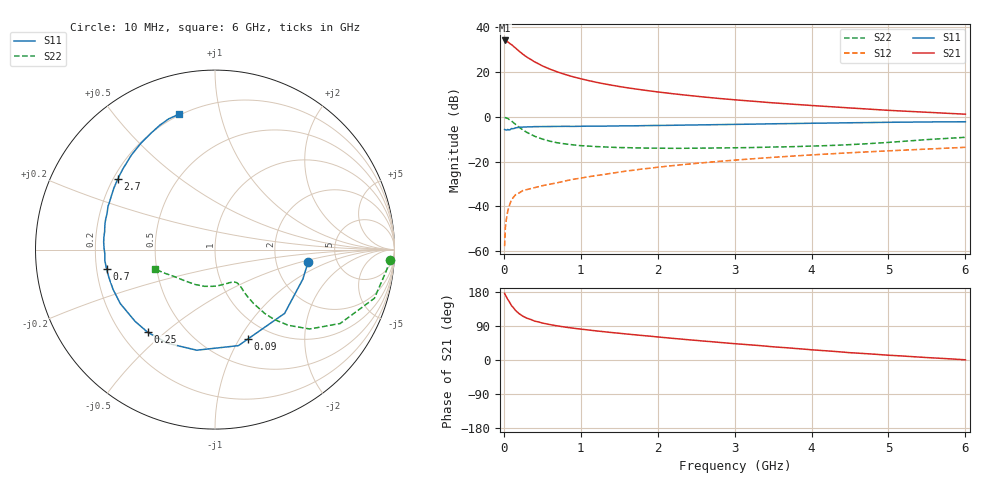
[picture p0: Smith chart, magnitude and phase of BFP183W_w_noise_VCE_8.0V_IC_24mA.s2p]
! Infineon Technologies  Discrete & RF Semiconductors
! BFP183W
! VCE =  8.0 V,  IC =  24 mA
! Common Emitter S-Parameters:  Jan 2017
# GHz  S  MA  R  50
!  f  S11  S21  S12  S22
! GHz  MAG  ANG  MAG  ANG  MAG  ANG  MAG  ANG
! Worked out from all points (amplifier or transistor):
!   77 points, 10 MHz to 6 GHz, reference 50 ohm
!   highest |S21| = 34.2 dB at 10 MHz (marker M1)
!   |S21| within 3 dB of that: start of sweep to 138.4 MHz
!   unconditionally stable (mu >= 1): 1.134 GHz to 3.477 GHz
!   at 130 MHz: K = 0.26, MSG = 33.5 dB, |S12| = -35.7 dB
!   at 2.2 GHz: K = 1.06, MAG = 14.6 dB, |S12| = -21.7 dB
!   at 6 GHz: K = 0.86, MSG = 7.4 dB, |S12| = -13.6 dB
!   lowest NFmin = 1.27 dB at 450 MHz
!   S11 on the Smith chart (normalised r, x): 10 MHz: 3.06, -0.60; 90 MHz: 0.78, -1.09; 250 MHz: 0.31, -0.44; 700 MHz: 0.24, -0.08; 2.7 GHz: 0.22, +0.31; 6 GHz: 0.19, +0.75
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0.01  0.5232 -7.8  51.02 175.9  0.0013 76.2  0.9787 -3.3
0.02  0.5164 -18.6  50.17 171.4  0.0034 88.5  0.9624 -6.9
0.05  0.526 -42.5  47.56 160.0  0.0077 73.3  0.9285 -17.0
0.09  0.5313 -70.0  42.2 147.1  0.0128 65.3  0.8293 -27.6
0.1  0.5508 -76.3  41.25 143.4  0.0141 64.2  0.8096 -30.6
0.15  0.5697 -100.3  34.77 131.2  0.0182 54.1  0.6878 -40.0
0.2  0.5849 -116.8  29.24 122.1  0.0201 49.3  0.5874 -45.9
0.25  0.594 -129.1  24.97 115.3  0.0228 47.8  0.5106 -49.7
0.3  0.5984 -138.1  21.61 110.3  0.0239 47.0  0.4506 -52.1
0.4  0.6076 -150.5  16.96 102.7  0.0264 47.0  0.3704 -54.4
0.5  0.6096 -158.7  13.82 97.6  0.0291 48.6  0.3204 -55.3
0.6  0.6111 -165.1  11.67 93.4  0.0315 49.7  0.2871 -55.6
0.7  0.6136 -169.9  10.06 89.9  0.034 52.4  0.2636 -55.3
0.9  0.6143 -177.9  7.873 84.0  0.0404 54.7  0.2379 -55.8
1.1  0.6217 176.1  6.487 79.2  0.0461 57.5  0.2233 -56.4
1.5  0.63 166.4  4.779 70.6  0.0585 59.1  0.207 -60.5
2.1  0.6473 154.1  3.452 59.0  0.0786 59.5  0.1998 -71.3
2.7  0.6696 143.8  2.684 48.3  0.0985 57.8  0.202 -86.0
3.1  0.685 137.5  2.339 41.6  0.1117 56.1  0.2057 -96.2
4.1  0.7255 123.5  1.756 25.5  0.145 50.8  0.2257 -122.4
5.1  0.7612 112.9  1.375 11.5  0.1781 45.0  0.2778 -148.0
6  0.7802 105.0  1.151 0.5  0.2097 39.1  0.3507 -161.9
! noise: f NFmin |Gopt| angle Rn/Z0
0.45  1.27  0.23  176  0.1
0.9  1.29  0.27  178  0.09
1.9  1.78  0.43  -159  0.09
2.4  2.01  0.47  -154  0.13
